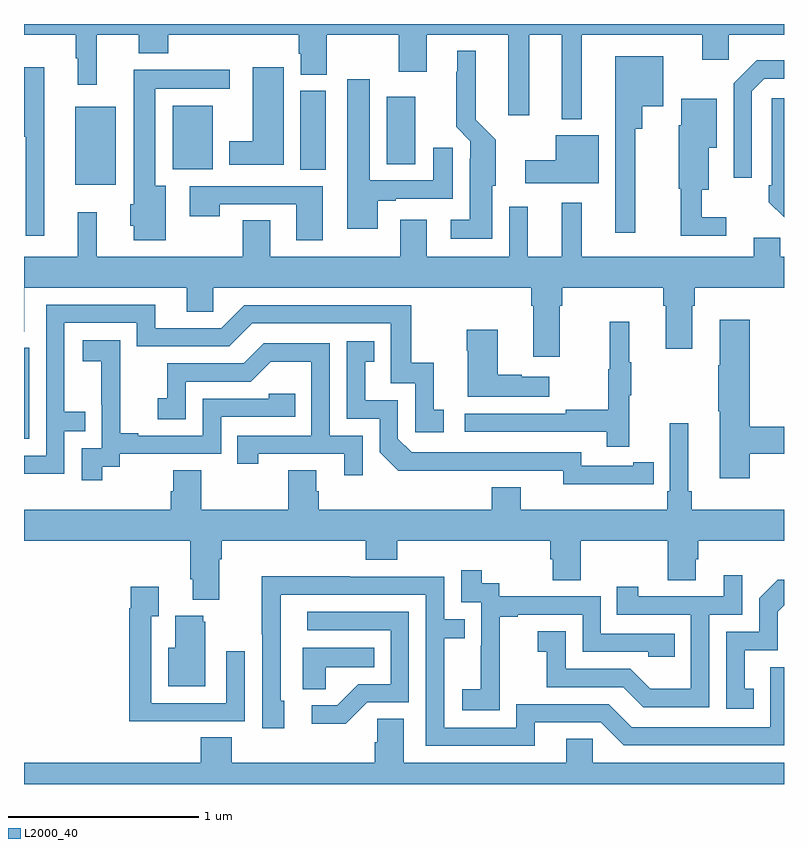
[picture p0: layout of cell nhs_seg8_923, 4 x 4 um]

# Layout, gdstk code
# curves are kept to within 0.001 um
import gdstk
lib = gdstk.Library(unit=1e-6, precision=1e-09)
def R(c, l, rs):  # rectangles x0, y0, x1, y1
    for r in rs: c.add(gdstk.rectangle(r[:2], r[2:], *l))
def P(c, l, *ps):  # polygons
    for p in ps: c.add(gdstk.Polygon(p, *l))
L2000_40 = (2000, 40)

nhs_seg8_923 = lib.new_cell('nhs_seg8_923')
R(nhs_seg8_923, L2000_40, [(171,1103.718,171.027,1104.195), (171.269,1105.055,171.484,1105.465), (172.454,1105.132,172.588,1105.548), (171.782,1105.136,171.994,1105.471), (172.91,1105.162,173.059,1105.516)])
P(nhs_seg8_923, L2000_40, [(173.935,1105.844),(174.569,1105.844),(174.569,1105.713),(174.708,1105.713),(174.708,1105.844),(175,1105.844),(175,1105.9),(171,1105.9),(171,1105.844),(171.273,1105.844),(171.273,1105.721),(171.284,1105.721),(171.284,1105.581),(171.384,1105.581),(171.384,1105.844),(171.605,1105.844),(171.605,1105.745),(171.758,1105.745),(171.758,1105.844),(172.445,1105.844),(172.445,1105.743),(172.457,1105.743),(172.457,1105.633),(172.593,1105.633),(172.593,1105.844),(172.972,1105.844),(172.972,1105.65),(173.119,1105.65),(173.119,1105.844),(173.549,1105.844),(173.549,1105.419),(173.659,1105.419),(173.659,1105.844),(173.831,1105.844),(173.831,1105.4),(173.935,1105.4)],
  [(173.464,1105.05),(173.482,1105.05),(173.482,1105.29),(173.377,1105.396),(173.377,1105.759),(173.279,1105.759),(173.279,1105.649),(173.275,1105.649),(173.275,1105.358),(173.349,1105.284),(173.349,1105.19),(173.345,1105.19),(173.345,1104.871),(173.247,1104.871),(173.247,1104.77),(173.464,1104.77)],
  [(174.217,1105.349),(174.253,1105.349),(174.253,1105.466),(174.364,1105.466),(174.364,1105.729),(174.113,1105.729),(174.113,1104.801),(174.217,1104.801)],
  [(174.831,1105.545),(174.897,1105.611),(175,1105.611),(175,1105.708),(174.856,1105.708),(174.735,1105.587),(174.735,1105.092),(174.831,1105.092)],
  [(171.106,1105.672),(171,1105.672),(171,1105.307),(171.009,1105.307),(171.009,1104.786),(171.106,1104.786)],
  [(172.366,1105.672),(172.205,1105.672),(172.205,1105.282),(172.079,1105.282),(172.079,1105.16),(172.366,1105.16)],
  [(171.745,1105.048),(171.691,1105.048),(171.691,1105.56),(172.084,1105.56),(172.084,1105.658),(171.578,1105.658),(171.578,1104.951),(171.56,1104.951),(171.56,1104.837),(171.578,1104.837),(171.578,1104.762),(171.745,1104.762)],
  [(172.861,1104.969),(172.957,1104.969),(172.957,1104.981),(173.257,1104.981),(173.257,1105.249),(173.153,1105.249),(173.153,1105.077),(172.819,1105.077),(172.819,1105.609),(172.7,1105.609),(172.7,1104.822),(172.861,1104.822)],
  [(175,1105.509),(174.936,1105.509),(174.936,1105.051),(174.921,1105.051),(174.921,1104.963),(175,1104.884)],
  [(174.697,1104.883),(174.568,1104.883),(174.568,1105.028),(174.604,1105.028),(174.604,1105.25),(174.646,1105.25),(174.646,1105.507),(174.458,1105.507),(174.458,1105.368),(174.446,1105.368),(174.446,1105.032),(174.457,1105.032),(174.457,1104.786),(174.697,1104.786)],
  [(174.025,1105.315),(173.798,1105.315),(173.798,1105.183),(173.637,1105.183),(173.637,1105.061),(174.025,1105.061)],
  [(172.573,1105.047),(171.873,1105.047),(171.873,1104.888),(172.029,1104.888),(172.029,1104.951),(172.433,1104.951),(172.433,1104.762),(172.573,1104.762)],
  [(173.821,1104.416),(173.834,1104.416),(173.834,1104.512),(174.365,1104.512),(174.365,1104.416),(174.377,1104.416),(174.377,1104.192),(174.517,1104.192),(174.517,1104.416),(174.53,1104.416),(174.53,1104.512),(175,1104.512),(175,1104.676),(174.981,1104.676),(174.981,1104.774),(174.842,1104.774),(174.842,1104.676),(173.935,1104.676),(173.935,1104.958),(173.831,1104.958),(173.831,1104.676),(173.651,1104.676),(173.651,1104.937),(173.553,1104.937),(173.553,1104.676),(173.119,1104.676),(173.119,1104.871),(172.979,1104.871),(172.979,1104.676),(172.297,1104.676),(172.297,1104.866),(172.15,1104.866),(172.15,1104.676),(171.382,1104.676),(171.382,1104.91),(171.284,1104.91),(171.284,1104.676),(171,1104.676),(171,1104.28),(171.001,1104.28),(171.001,1104.512),(171.857,1104.512),(171.857,1104.385),(171.996,1104.385),(171.996,1104.512),(173.669,1104.512),(173.669,1104.416),(173.681,1104.416),(173.681,1104.15),(173.821,1104.15)],
  [(171.213,1103.757),(171.323,1103.757),(171.323,1103.858),(171.213,1103.858),(171.213,1104.327),(171.594,1104.327),(171.594,1104.204),(172.08,1104.204),(172.2,1104.324),(172.929,1104.324),(172.929,1104.009),(173.058,1104.009),(173.058,1103.751),(173.209,1103.751),(173.209,1103.871),(173.156,1103.871),(173.156,1104.118),(173.038,1104.118),(173.038,1104.42),(172.158,1104.42),(172.038,1104.3),(171.691,1104.3),(171.691,1104.423),(171.117,1104.423),(171.117,1103.628),(171,1103.628),(171,1103.532),(171.213,1103.532)],
  [(174.821,1103.638),(175,1103.638),(175,1103.78),(174.821,1103.78),(174.821,1104.343),(174.662,1104.343),(174.662,1104.104),(174.655,1104.104),(174.655,1103.863),(174.662,1103.863),(174.662,1103.508),(174.821,1103.508)],
  [(174.185,1103.947),(174.196,1103.947),(174.196,1104.121),(174.185,1104.121),(174.185,1104.334),(174.082,1104.334),(174.082,1104.084),(174.075,1104.084),(174.075,1103.87),(173.851,1103.87),(173.851,1103.85),(173.319,1103.85),(173.319,1103.754),(174.067,1103.754),(174.067,1103.676),(174.185,1103.676)],
  [(173.764,1104.043),(173.621,1104.043),(173.621,1104.053),(173.494,1104.053),(173.494,1104.292),(173.329,1104.292),(173.329,1104.179),(173.336,1104.179),(173.336,1103.939),(173.764,1103.939)],
  [(171.412,1103.569),(171.504,1103.569),(171.504,1103.637),(172.038,1103.637),(172.038,1103.832),(172.427,1103.832),(172.427,1103.955),(172.287,1103.955),(172.287,1103.928),(171.942,1103.928),(171.942,1103.733),(171.601,1103.733),(171.601,1103.746),(171.506,1103.746),(171.506,1104.029),(171.507,1104.029),(171.507,1104.235),(171.309,1104.235),(171.309,1104.125),(171.407,1104.125),(171.407,1103.897),(171.408,1103.897),(171.408,1103.667),(171.303,1103.667),(171.303,1103.499),(171.412,1103.499)],
  [(174.206,1103.478),(174.314,1103.478),(174.314,1103.594),(174.206,1103.594),(174.206,1103.574),(173.934,1103.574),(173.934,1103.646),(173.04,1103.646),(172.968,1103.718),(172.968,1103.919),(172.795,1103.919),(172.795,1104.123),(172.844,1104.123),(172.844,1104.229),(172.698,1104.229),(172.698,1103.823),(172.872,1103.823),(172.872,1103.646),(172.97,1103.549),(173.838,1103.55),(173.838,1103.477)],
  [(172.782,1103.733),(172.608,1103.733),(172.608,1104.219),(172.262,1104.219),(172.157,1104.114),(171.754,1104.114),(171.754,1103.929),(171.705,1103.929),(171.705,1103.82),(171.852,1103.82),(171.852,1104.018),(172.194,1104.018),(172.298,1104.122),(172.512,1104.122),(172.512,1103.733),(172.123,1103.733),(172.123,1103.586),(172.234,1103.586),(172.234,1103.637),(172.685,1103.637),(172.685,1103.526),(172.782,1103.526)],
  [(172.027,1103.084),(172.04,1103.084),(172.04,1103.18),(172.799,1103.18),(172.799,1103.081),(172.964,1103.081),(172.964,1103.18),(173.771,1103.18),(173.771,1103.082),(173.783,1103.082),(173.783,1102.972),(173.931,1102.972),(173.931,1103.18),(174.388,1103.18),(174.388,1102.972),(174.535,1102.972),(174.535,1103.082),(174.548,1103.082),(174.548,1103.18),(175,1103.18),(175,1103.344),(174.515,1103.344),(174.515,1103.44),(174.496,1103.44),(174.496,1103.8),(174.399,1103.8),(174.399,1103.44),(174.386,1103.44),(174.386,1103.344),(173.614,1103.344),(173.614,1103.461),(173.462,1103.461),(173.462,1103.344),(172.55,1103.344),(172.55,1103.442),(172.537,1103.442),(172.537,1103.552),(172.39,1103.552),(172.39,1103.344),(171.933,1103.344),(171.933,1103.552),(171.785,1103.552),(171.785,1103.442),(171.773,1103.442),(171.773,1103.344),(171,1103.344),(171,1103.18),(171.875,1103.18),(171.875,1102.978),(171.887,1102.978),(171.887,1102.871),(172.027,1102.871)],
  [(173.505,1102.495),(173.504,1102.495),(173.504,1102.779),(173.599,1102.779),(173.599,1102.791),(173.94,1102.791),(173.94,1102.596),(174.285,1102.596),(174.285,1102.569),(174.425,1102.569),(174.425,1102.692),(174.036,1102.692),(174.036,1102.887),(173.502,1102.887),(173.502,1102.956),(173.41,1102.956),(173.41,1103.026),(173.301,1103.026),(173.301,1102.857),(173.406,1102.857),(173.406,1102.628),(173.405,1102.628),(173.405,1102.399),(173.307,1102.399),(173.307,1102.289),(173.505,1102.289)],
  [(174.606,1102.791),(174.78,1102.791),(174.78,1102.999),(174.683,1102.999),(174.683,1102.887),(174.232,1102.887),(174.232,1102.939),(174.121,1102.939),(174.121,1102.791),(174.51,1102.791),(174.51,1102.402),(174.296,1102.402),(174.192,1102.506),(173.85,1102.506),(173.85,1102.705),(173.703,1102.705),(173.703,1102.595),(173.752,1102.595),(173.752,1102.41),(174.155,1102.41),(174.26,1102.305),(174.606,1102.305)],
  [(173.689,1102.224),(174.036,1102.224),(174.156,1102.104),(175,1102.104),(175,1102.515),(174.927,1102.515),(174.927,1102.2),(174.198,1102.2),(174.078,1102.32),(173.592,1102.32),(173.592,1102.197),(173.211,1102.197),(173.211,1102.666),(173.321,1102.666),(173.321,1102.767),(173.211,1102.767),(173.211,1102.992),(172.715,1102.992),(172.715,1102.994),(172.252,1102.994),(172.252,1102.687),(172.254,1102.687),(172.254,1102.194),(172.369,1102.194),(172.369,1102.338),(172.35,1102.338),(172.35,1102.896),(173.115,1102.896),(173.115,1102.101),(173.689,1102.101)],
  [(174.842,1102.401),(174.793,1102.401),(174.793,1102.605),(174.966,1102.605),(174.966,1102.806),(175,1102.84),(175,1102.976),(174.968,1102.976),(174.87,1102.878),(174.87,1102.701),(174.696,1102.701),(174.696,1102.296),(174.842,1102.296)],
  [(171.845,1102.23),(172.161,1102.23),(172.161,1102.6),(172.065,1102.6),(172.065,1102.326),(171.669,1102.326),(171.669,1102.783),(171.709,1102.783),(171.709,1102.939),(171.561,1102.939),(171.561,1102.826),(171.553,1102.826),(171.553,1102.229),(171.845,1102.229)],
  [(172.806,1102.329),(173.025,1102.329),(173.025,1102.806),(172.491,1102.806),(172.491,1102.71),(172.929,1102.71),(172.929,1102.425),(172.76,1102.425),(172.649,1102.314),(172.515,1102.314),(172.515,1102.217),(172.693,1102.217)],
  [(171.955,1102.755),(171.944,1102.755),(171.944,1102.786),(171.797,1102.786),(171.797,1102.618),(171.758,1102.618),(171.758,1102.415),(171.955,1102.415)],
  [(172.587,1102.514),(172.844,1102.514),(172.844,1102.618),(172.466,1102.618),(172.466,1102.399),(172.587,1102.399)],
  [(175,1102.012),(173.994,1102.012),(173.994,1102.139),(173.855,1102.139),(173.855,1102.012),(172.999,1102.012),(172.999,1102.244),(172.86,1102.244),(172.86,1102.121),(172.847,1102.121),(172.847,1102.012),(172.094,1102.012),(172.094,1102.145),(171.929,1102.145),(171.929,1102.012),(171,1102.012),(171,1101.9),(175,1101.9)])

lib.write_gds('nhs_seg8_923.gds')
